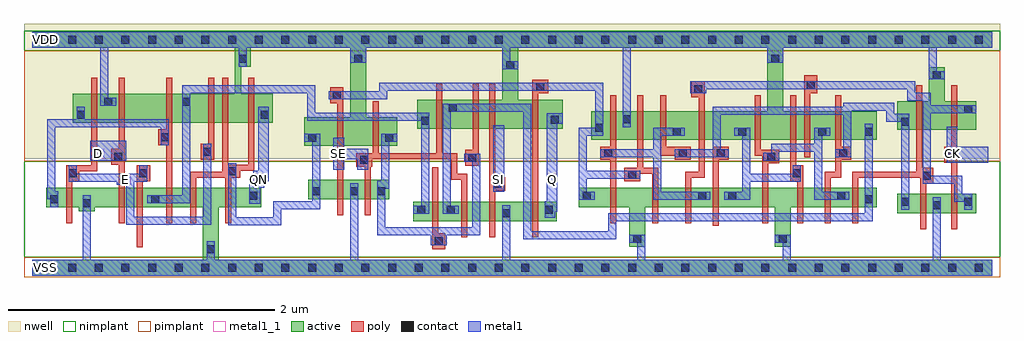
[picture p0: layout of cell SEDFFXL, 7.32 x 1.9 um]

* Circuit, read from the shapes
.subckt SEDFFXL CK D E Q QN SE SI VDD VSS
M1 VSS E n1 VSS nfet w=0.145u l=0.045u
M2 n2 D VSS VSS nfet w=0.145u l=0.045u
M3 n3 E n2 VSS nfet w=0.145u l=0.045u
M4 n4 n1 n3 VSS nfet w=0.145u l=0.045u
M5 VSS n5 n4 VSS nfet w=0.145u l=0.045u
M6 QN n5 VSS VSS nfet w=0.145u l=0.045u
M7 VSS n6 n5 VSS nfet w=0.145u l=0.045u
M8 n7 SE VSS VSS nfet w=0.145u l=0.045u
M9 n8 n7 n3 VSS nfet w=0.145u l=0.045u
M10 n9 SE n8 VSS nfet w=0.145u l=0.045u
M11 VSS SI n9 VSS nfet w=0.145u l=0.045u
M12 Q n6 VSS VSS nfet w=0.145u l=0.045u
M13 VSS n10 n6 VSS nfet w=0.145u l=0.045u
M14 n11 n6 VSS VSS nfet w=0.145u l=0.045u
M15 n10 n12 n11 VSS nfet w=0.145u l=0.045u
M16 n13 n14 n10 VSS nfet w=0.145u l=0.045u
M17 VSS n15 n13 VSS nfet w=0.145u l=0.045u
M18 n16 n13 VSS VSS nfet w=0.145u l=0.045u
M19 n15 n14 n16 VSS nfet w=0.145u l=0.045u
M20 n8 n12 n15 VSS nfet w=0.145u l=0.045u
M21 VSS n12 n14 VSS nfet w=0.145u l=0.045u
M22 n12 CK VSS VSS nfet w=0.145u l=0.045u
M23 VDD E n1 VDD pfet w=0.215u l=0.045u
M24 n17 D VDD VDD pfet w=0.215u l=0.045u
M25 n3 n1 n17 VDD pfet w=0.215u l=0.045u
M26 n18 E n3 VDD pfet w=0.215u l=0.045u
M27 VDD n5 n18 VDD pfet w=0.215u l=0.045u
M28 QN n5 VDD VDD pfet w=0.215u l=0.045u
M29 VDD n6 n5 VDD pfet w=0.215u l=0.045u
M30 n7 SE VDD VDD pfet w=0.215u l=0.045u
M31 n8 SE n3 VDD pfet w=0.215u l=0.045u
M32 n19 n7 n8 VDD pfet w=0.215u l=0.045u
M33 VDD SI n19 VDD pfet w=0.215u l=0.045u
M34 Q n6 VDD VDD pfet w=0.215u l=0.045u
M35 VDD n10 n6 VDD pfet w=0.215u l=0.045u
M36 n20 n6 VDD VDD pfet w=0.215u l=0.045u
M37 n10 n14 n20 VDD pfet w=0.215u l=0.045u
M38 n13 n12 n10 VDD pfet w=0.215u l=0.045u
M39 VDD n15 n13 VDD pfet w=0.215u l=0.045u
M40 n21 n13 VDD VDD pfet w=0.215u l=0.045u
M41 n15 n12 n21 VDD pfet w=0.215u l=0.045u
M42 n8 n14 n15 VDD pfet w=0.215u l=0.045u
M43 VDD n12 n14 VDD pfet w=0.215u l=0.045u
M44 n12 CK VDD VDD pfet w=0.215u l=0.045u
.ends

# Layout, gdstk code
import gdstk
lib = gdstk.Library(unit=1e-6, precision=5e-10)
def R(c, l, rs):  # rectangles x0, y0, x1, y1
    for r in rs: c.add(gdstk.rectangle(r[:2], r[2:], *l))
def A(c, l, x, y, w, h, nx, ny, dx, dy):  # array of equal rectangles
    R(c, l, [(x+i*dx, y+j*dy, x+i*dx+w, y+j*dy+h) for i in range(nx) for j in range(ny)])
def P(c, l, *ps):  # polygons
    for p in ps: c.add(gdstk.Polygon(p, *l))
active = (1, 0)
nwell = (2, 0)
poly = (3, 0)
nimplant = (4, 0)
pimplant = (5, 0)
contact = (6, 0)
metal1 = (7, 0)
metal1_1 = (7, 1)

sedffxl = lib.new_cell('SEDFFXL')
R(sedffxl, active, [(2.86,0.35,3.935,0.495), (6.49,0.41,7.08,0.555), (2.07,0.515,2.68,0.66)])
P(sedffxl, active, [(0,1.77),(7.2,1.77),(7.2,1.65),(5.635,1.65),(5.635,1.175),(6.335,1.175),(6.335,0.96),(4.195,0.96),(4.195,1.175),(5.515,1.175),(5.515,1.65),(3.645,1.65),(3.645,1.26),(3.98,1.26),(3.98,1.045),(2.89,1.045),(2.89,1.26),(3.525,1.26),(3.525,1.65),(2.505,1.65),(2.505,1.13),(2.74,1.13),(2.74,0.915),(2.04,0.915),(2.04,1.13),(2.385,1.13),(2.385,1.65),(1.64,1.65),(1.64,1.51),(1.57,1.51),(1.57,1.305),(1.805,1.305),(1.805,1.09),(0.305,1.09),(0.305,1.305),(1.52,1.305),(1.52,1.65),(0,1.65)],
  [(6.725,1.505),(6.845,1.505),(6.845,1.25),(7.08,1.25),(7.08,1.035),(6.49,1.035),(6.49,1.25),(6.725,1.25)],
  [(0.105,0.6),(1.72,0.6),(1.72,0.455),(1.4,0.455),(1.4,0.06),(7.2,0.06),(7.2,-0.06),(0,-0.06),(0,0.06),(1.28,0.06),(1.28,0.455),(0.47,0.455),(0.47,0.425),(0.35,0.425),(0.35,0.455),(0.105,0.455)],
  [(4.1,0.6),(6.335,0.6),(6.335,0.455),(5.69,0.455),(5.69,0.16),(5.57,0.16),(5.57,0.455),(4.6,0.455),(4.6,0.16),(4.48,0.16),(4.48,0.455),(4.1,0.455)])
R(sedffxl, nwell, [(-0.06,0.82,7.26,1.83)])
P(sedffxl, poly, [(0.445,1.425),(0.49,1.425),(0.49,0.725),(0.355,0.725),(0.355,0.65),(0.3,0.65),(0.3,0.335),(0.255,0.335),(0.255,0.77),(0.445,0.77)],
  [(0.65,1.425),(0.695,1.425),(0.695,0.335),(0.65,0.335),(0.65,0.775),(0.595,0.775),(0.595,0.895),(0.65,0.895)],
  [(1.005,1.425),(1.05,1.425),(1.05,0.335),(1.005,0.335),(1.005,0.92),(0.945,0.92),(0.945,1.04),(1.005,1.04)],
  [(1.32,1.425),(1.365,1.425),(1.365,0.81),(1.265,0.81),(1.265,0.93),(1.32,0.93)],
  [(1.425,1.425),(1.47,1.425),(1.47,0.775),(1.62,0.775),(1.62,1.425),(1.665,1.425),(1.665,0.73),(1.56,0.73),(1.56,0.675),(1.495,0.675),(1.495,0.335),(1.45,0.335),(1.45,0.675),(1.23,0.675),(1.23,0.335),(1.185,0.335),(1.185,0.72),(1.425,0.72)],
  [(2.235,1.355),(2.335,1.355),(2.335,0.395),(2.29,0.395),(2.29,1.235),(2.235,1.235)],
  [(3.75,1.41),(3.87,1.41),(3.87,1.31),(3.795,1.31),(3.795,0.23),(3.75,0.23)],
  [(2.555,1.25),(2.6,1.25),(2.6,0.86),(3.03,0.86),(3.03,1.38),(3.075,1.38),(3.075,0.86),(3.19,0.86),(3.19,0.705),(3.265,0.705),(3.265,0.23),(3.22,0.23),(3.22,0.66),(3.145,0.66),(3.145,0.815),(2.55,0.815),(2.55,0.76),(2.54,0.76),(2.54,0.395),(2.495,0.395),(2.495,0.76),(2.43,0.76),(2.43,0.86),(2.555,0.86)],
  [(3.305,1.38),(3.35,1.38),(3.35,0.765),(3.25,0.765),(3.25,0.885),(3.305,0.885)],
  [(3.43,1.38),(3.475,1.38),(3.475,0.68),(3.55,0.68),(3.55,0.58),(3.475,0.58),(3.475,0.23),(3.43,0.23)],
  [(4.945,1.4),(5.045,1.4),(5.045,0.675),(4.945,0.675),(4.945,0.335),(4.9,0.335),(4.9,0.72),(5,0.72),(5,1.28),(4.945,1.28)],
  [(4.335,1.295),(4.38,1.295),(4.38,0.335),(4.335,0.335),(4.335,0.81),(4.26,0.81),(4.26,0.91),(4.335,0.91)],
  [(4.54,1.295),(4.585,1.295),(4.585,0.75),(4.695,0.75),(4.695,0.335),(4.65,0.335),(4.65,0.705),(4.56,0.705),(4.56,0.65),(4.44,0.65),(4.44,0.75),(4.54,0.75)],
  [(4.71,1.295),(4.755,1.295),(4.755,0.91),(4.94,0.91),(4.94,0.81),(4.82,0.81),(4.82,0.84),(4.71,0.84)],
  [(5.42,1.295),(5.465,1.295),(5.465,0.885),(5.605,0.885),(5.605,0.785),(5.52,0.785),(5.52,0.335),(5.475,0.335),(5.475,0.84),(5.42,0.84)],
  [(5.79,1.445),(5.89,1.445),(5.89,1.31),(5.835,1.31),(5.835,0.83),(5.79,0.83)],
  [(5.685,1.295),(5.73,1.295),(5.73,0.77),(5.785,0.77),(5.785,0.335),(5.74,0.335),(5.74,0.65),(5.685,0.65)],
  [(6.025,1.295),(6.07,1.295),(6.07,0.91),(6.145,0.91),(6.145,0.81),(6.07,0.81),(6.07,0.675),(5.99,0.675),(5.99,0.335),(5.945,0.335),(5.945,0.72),(6.025,0.72)],
  [(6.63,1.37),(6.675,1.37),(6.675,0.75),(6.76,0.75),(6.76,0.63),(6.705,0.63),(6.705,0.29),(6.66,0.29),(6.66,0.675),(6.195,0.675),(6.195,0.335),(6.15,0.335),(6.15,0.72),(6.63,0.72)],
  [(6.895,1.37),(6.94,1.37),(6.94,0.29),(6.895,0.29),(6.895,0.79),(6.84,0.79),(6.84,0.91),(6.895,0.91)],
  [(5.105,0.91),(5.225,0.91),(5.225,0.81),(5.15,0.81),(5.15,0.315),(5.105,0.315)],
  [(0.785,0.77),(0.885,0.77),(0.885,0.65),(0.83,0.65),(0.83,0.155),(0.785,0.155)],
  [(3,0.755),(3.045,0.755),(3.045,0.26),(3.1,0.26),(3.1,0.14),(3,0.14)])
R(sedffxl, nimplant, [(-0.06,0.08,7.26,0.8), (-0.06,1.63,7.26,1.78)])
R(sedffxl, pimplant, [(-0.06,-0.07,7.26,0.08), (-0.06,0.8,7.26,1.63)])
A(sedffxl, contact, 0.07, -0.03, 0.06, 0.06, 36, 2, 0.2, 1.71)
R(sedffxl, contact, [(1.31,0.11,1.37,0.17), (3.02,0.17,3.08,0.23), (4.51,0.19,4.57,0.25), (5.6,0.19,5.66,0.25), (3.525,0.38,3.585,0.44), (2.89,0.405,2.95,0.465), (3.11,0.405,3.17,0.465), (3.845,0.405,3.905,0.465), (6.755,0.44,6.815,0.5), (0.38,0.455,0.44,0.515), (6.52,0.465,6.58,0.525), (6.99,0.465,7.05,0.525), (0.135,0.485,0.195,0.545), (0.895,0.485,0.955,0.545), (6.245,0.485,6.305,0.545), (1.63,0.51,1.69,0.57), (4.13,0.51,4.19,0.57), (4.995,0.51,5.055,0.57), (5.22,0.51,5.28,0.57), (6.04,0.51,6.1,0.57), (2.1,0.545,2.16,0.605), (2.385,0.545,2.445,0.605), (2.59,0.545,2.65,0.605), (3.46,0.6,3.52,0.66), (6.68,0.66,6.74,0.72), (4.47,0.67,4.53,0.73), (0.275,0.68,0.335,0.74), (0.805,0.68,0.865,0.74), (5.705,0.68,5.765,0.74), (1.47,0.695,1.53,0.755), (2.46,0.78,2.52,0.84), (3.27,0.795,3.33,0.855), (0.615,0.805,0.675,0.865), (5.515,0.805,5.575,0.865), (6.86,0.82,6.92,0.88), (4.29,0.83,4.35,0.89), (4.85,0.83,4.91,0.89), (5.135,0.83,5.195,0.89), (6.055,0.83,6.115,0.89), (1.285,0.84,1.345,0.9), (2.07,0.945,2.13,1.005), (2.65,0.945,2.71,1.005), (0.965,0.95,1.025,1.01), (4.805,0.99,4.865,1.05), (5.295,0.99,5.355,1.05), (5.895,0.99,5.955,1.05), (6.245,0.99,6.305,1.05), (4.225,1.02,4.285,1.08), (6.52,1.065,6.58,1.125), (2.92,1.075,2.98,1.135), (3.89,1.08,3.95,1.14), (4.43,1.085,4.49,1.145), (0.335,1.12,0.395,1.18), (1.715,1.12,1.775,1.18), (6.99,1.16,7.05,1.22), (3.125,1.17,3.185,1.23), (0.54,1.215,0.6,1.275), (1.125,1.215,1.185,1.275), (2.255,1.265,2.315,1.325), (4.965,1.31,5.025,1.37), (3.78,1.33,3.84,1.39), (5.81,1.34,5.87,1.4), (6.755,1.415,6.815,1.475), (3.555,1.49,3.615,1.55), (1.55,1.54,1.61,1.6), (2.415,1.54,2.475,1.6), (5.545,1.54,5.605,1.6)])
R(sedffxl, metal1, [(3.46,0.57,3.54,1.07), (0.435,0.805,0.705,0.955)])
P(sedffxl, metal1, [(0,1.77),(7.2,1.77),(7.2,1.65),(6.785,1.65),(6.785,1.475),(6.845,1.475),(6.845,1.415),(6.725,1.415),(6.725,1.65),(5.635,1.65),(5.635,1.54),(5.515,1.54),(5.515,1.65),(4.49,1.65),(4.49,1.055),(4.43,1.055),(4.43,1.65),(3.585,1.65),(3.585,1.55),(3.645,1.55),(3.645,1.49),(3.525,1.49),(3.525,1.65),(2.505,1.65),(2.505,1.54),(2.385,1.54),(2.385,1.65),(1.61,1.65),(1.61,1.51),(1.55,1.51),(1.55,1.65),(0.57,1.65),(0.57,1.275),(0.63,1.275),(0.63,1.215),(0.51,1.215),(0.51,1.65),(0,1.65)],
  [(2.605,1.39),(4.285,1.39),(4.285,0.99),(4.16,0.99),(4.16,0.73),(4.56,0.73),(4.56,0.67),(4.16,0.67),(4.16,0.57),(4.22,0.57),(4.22,0.51),(4.1,0.51),(4.1,1.05),(4.225,1.05),(4.225,1.33),(2.665,1.33),(2.665,1.265),(2.225,1.265),(2.225,1.325),(2.605,1.325)],
  [(1.125,1.37),(2.125,1.37),(2.125,1.165),(2.98,1.165),(2.98,0.405),(2.86,0.405),(2.86,0.465),(2.92,0.465),(2.92,1.105),(2.065,1.105),(2.065,1.31),(1.185,1.31),(1.185,0.485),(0.865,0.485),(0.865,0.545),(1.125,0.545)],
  [(0.335,1.21),(0.395,1.21),(0.395,1.115),(1.025,1.115),(1.025,0.92),(0.965,0.92),(0.965,1.055),(0.175,1.055),(0.175,0.575),(0.195,0.575),(0.195,0.455),(0.135,0.455),(0.135,0.515),(0.115,0.515),(0.115,1.115),(0.335,1.115)],
  [(1.695,1.21),(1.775,1.21),(1.775,0.65),(1.74,0.65),(1.74,0.6),(1.71,0.6),(1.71,0.48),(1.63,0.48),(1.63,0.68),(1.66,0.68),(1.66,0.73),(1.695,0.73)],
  [(0.275,0.77),(0.335,0.77),(0.335,0.705),(0.805,0.705),(0.805,0.77),(0.865,0.77),(0.865,0.645),(0.765,0.645),(0.765,0.385),(1.285,0.385),(1.285,0.93),(1.345,0.93),(1.345,0.325),(0.705,0.325),(0.705,0.625),(0.635,0.625),(0.635,0.645),(0.275,0.645)],
  [(0.38,0.545),(0.44,0.545),(0.44,0.06),(1.31,0.06),(1.31,0.2),(1.37,0.2),(1.37,0.06),(2.385,0.06),(2.385,0.635),(2.445,0.635),(2.445,0.06),(3.525,0.06),(3.525,0.47),(3.585,0.47),(3.585,0.06),(4.54,0.06),(4.54,0.19),(4.48,0.19),(4.48,0.25),(4.6,0.25),(4.6,0.06),(5.63,0.06),(5.63,0.19),(5.57,0.19),(5.57,0.25),(5.69,0.25),(5.69,0.06),(6.755,0.06),(6.755,0.53),(6.815,0.53),(6.815,0.06),(7.2,0.06),(7.2,-0.06),(0,-0.06),(0,0.06),(0.38,0.06)],
  [(2.04,1.005),(2.16,1.005),(2.16,0.44),(1.87,0.44),(1.87,0.32),(1.47,0.32),(1.47,0.785),(1.53,0.785),(1.53,0.38),(1.81,0.38),(1.81,0.5),(2.1,0.5),(2.1,0.945),(2.04,0.945)],
  [(2.62,1.005),(2.74,1.005),(2.74,0.945),(2.68,0.945),(2.68,0.595),(2.65,0.595),(2.65,0.305),(3.3,0.305),(3.3,0.795),(3.24,0.795),(3.24,0.855),(3.36,0.855),(3.36,0.245),(3.11,0.245),(3.11,0.17),(2.99,0.17),(2.99,0.245),(2.59,0.245),(2.59,0.655),(2.62,0.655)],
  [(2.26,0.975),(2.34,0.975),(2.34,0.895),(2.52,0.895),(2.52,0.735),(2.44,0.735),(2.44,0.815),(2.34,0.815),(2.34,0.735),(2.26,0.735)],
  [(3.08,1.23),(3.745,1.23),(3.745,0.275),(4.32,0.275),(4.32,0.41),(6.245,0.41),(6.245,1.08),(6.305,1.08),(6.305,0.35),(4.38,0.35),(4.38,0.215),(3.685,0.215),(3.685,1.17),(3.14,1.17),(3.14,0.465),(3.2,0.465),(3.2,0.405),(3.08,0.405)],
  [(3.86,1.16),(3.98,1.16),(3.98,1.08),(3.94,1.08),(3.94,0.42),(3.925,0.42),(3.925,0.375),(3.845,0.375),(3.845,0.5),(3.86,0.5)],
  [(4.935,1.4),(6.625,1.4),(6.625,1.315),(6.74,1.315),(6.74,1.22),(7.08,1.22),(7.08,1.16),(6.74,1.16),(6.74,0.69),(6.975,0.69),(6.975,0.555),(7.05,0.555),(7.05,0.435),(6.99,0.435),(6.99,0.495),(6.915,0.495),(6.915,0.63),(6.68,0.63),(6.68,1.255),(6.565,1.255),(6.565,1.34),(5.055,1.34),(5.055,1.31),(4.935,1.31)],
  [(6.085,1.24),(6.465,1.24),(6.465,1.155),(6.58,1.155),(6.58,0.435),(6.52,0.435),(6.52,1.095),(6.405,1.095),(6.405,1.18),(6.145,1.18),(6.145,0.83),(6.025,0.83),(6.025,0.89),(6.085,0.89),(6.085,1.15),(5.165,1.15),(5.165,0.89),(5.225,0.89),(5.225,0.83),(4.82,0.83),(4.82,0.89),(5.105,0.89),(5.105,1.21),(6.085,1.21)],
  [(4.66,1.05),(4.895,1.05),(4.895,0.99),(4.72,0.99),(4.72,0.57),(5.085,0.57),(5.085,0.51),(4.66,0.51),(4.66,0.83),(4.26,0.83),(4.26,0.89),(4.66,0.89)],
  [(5.265,1.05),(5.385,1.05),(5.385,0.705),(5.705,0.705),(5.705,0.77),(5.765,0.77),(5.765,0.645),(5.385,0.645),(5.385,0.51),(5.19,0.51),(5.19,0.57),(5.325,0.57),(5.325,0.99),(5.265,0.99)],
  [(5.865,1.05),(5.985,1.05),(5.985,0.99),(5.925,0.99),(5.925,0.57),(6.13,0.57),(6.13,0.51),(5.865,0.51),(5.865,0.87),(5.605,0.87),(5.605,0.805),(5.485,0.805),(5.485,0.865),(5.545,0.865),(5.545,0.93),(5.865,0.93)],
  [(6.86,1.06),(6.94,1.06),(6.94,0.91),(7.17,0.91),(7.17,0.79),(6.86,0.79)])
R(sedffxl, metal1_1, [(0.06,-0.04,0.14,0.04), (0.66,0.625,0.74,0.705), (1.66,0.625,1.74,0.705), (3.46,0.625,3.54,0.705), (3.86,0.625,3.94,0.705), (0.46,0.815,0.54,0.895), (2.26,0.815,2.34,0.895), (6.86,0.815,6.94,0.895), (0.06,1.67,0.14,1.75)])
sedffxl.add(gdstk.Label('Q', (3.9,0.665), layer=7, texttype=1))
sedffxl.add(gdstk.Label('QN', (1.7,0.665), layer=7, texttype=1))
sedffxl.add(gdstk.Label('CK', (6.9,0.855), layer=7, texttype=1))
sedffxl.add(gdstk.Label('SI', (3.5,0.665), layer=7, texttype=1))
sedffxl.add(gdstk.Label('SE', (2.3,0.855), layer=7, texttype=1))
sedffxl.add(gdstk.Label('D', (0.5,0.855), layer=7, texttype=1))
sedffxl.add(gdstk.Label('E', (0.7,0.665), layer=7, texttype=1))
sedffxl.add(gdstk.Label('VDD', (0.1,1.71), layer=7, texttype=1))
sedffxl.add(gdstk.Label('VSS', (0.1,0), layer=7, texttype=1))
sedffxl.add(gdstk.Label('SEDFFXL', (0,0), layer=63, texttype=0))

lib.write_gds('SEDFFXL.gds')
